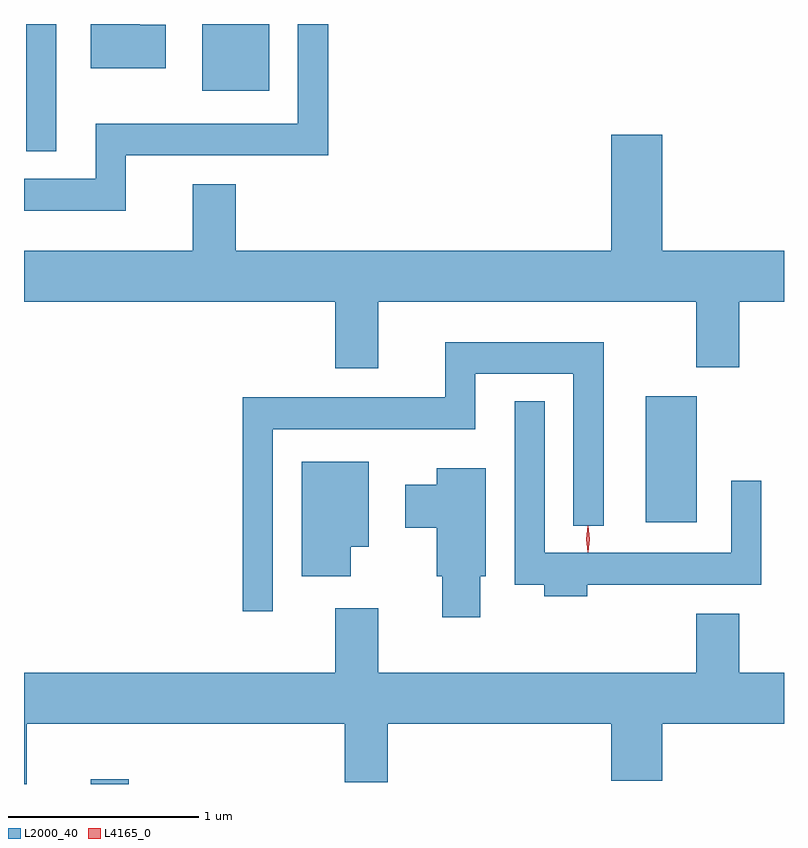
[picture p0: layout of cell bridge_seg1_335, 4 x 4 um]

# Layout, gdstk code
import gdstk
lib = gdstk.Library(unit=1e-6, precision=1e-09)
def R(c, l, rs):  # rectangles x0, y0, x1, y1
    for r in rs: c.add(gdstk.rectangle(r[:2], r[2:], *l))
def P(c, l, *ps):  # polygons
    for p in ps: c.add(gdstk.Polygon(p, *l))
L2000_40 = (2000, 40)
L4165_0 = (4165, 0)

bridge_seg1_335 = lib.new_cell('bridge_seg1_335')
R(bridge_seg1_335, L2000_40, [(911.636,881.498,911.834,881.524), (914.556,882.876,914.824,883.539), (911.296,884.828,911.454,885.498), (912.221,885.146,912.574,885.498)])
P(bridge_seg1_335, L2000_40, [(912.029,885.494),(911.894,885.494),(911.894,885.498),(911.636,885.498),(911.636,885.266),(912.029,885.266)],
  [(911.819,884.806),(912.884,884.806),(912.884,885.498),(912.726,885.498),(912.726,884.974),(911.661,884.974),(911.661,884.684),(911.284,884.684),(911.284,884.516),(911.819,884.516)],
  [(913.149,884.036),(914.821,884.036),(914.821,883.691),(915.049,883.691),(915.049,884.036),(915.284,884.036),(915.284,884.304),(914.644,884.304),(914.644,884.914),(914.376,884.914),(914.376,884.304),(912.399,884.304),(912.399,884.654),(912.171,884.654),(912.171,884.304),(911.284,884.304),(911.284,884.036),(912.921,884.036),(912.921,883.686),(913.149,883.686)],
  [(912.594,883.366),(913.659,883.366),(913.659,883.656),(914.176,883.656),(914.176,882.858),(914.334,882.858),(914.334,883.824),(913.501,883.824),(913.501,883.534),(912.436,883.534),(912.436,882.408),(912.594,882.408)],
  [(914.249,882.546),(915.164,882.546),(915.164,883.093),(915.006,883.093),(915.006,882.714),(914.024,882.714),(914.024,883.513),(913.866,883.513),(913.866,882.546),(914.021,882.546),(914.021,882.486),(914.249,882.486)],
  [(913.004,882.746),(913.099,882.746),(913.099,883.194),(912.746,883.194),(912.746,882.591),(913.004,882.591)],
  [(913.684,882.591),(913.714,882.591),(913.714,883.159),(913.456,883.159),(913.456,883.074),(913.291,883.074),(913.291,882.846),(913.456,882.846),(913.456,882.591),(913.486,882.591),(913.486,882.376),(913.684,882.376)],
  [(911.284,881.498),(911.299,881.498),(911.299,881.816),(912.971,881.816),(912.971,881.506),(913.199,881.506),(913.199,881.816),(914.376,881.816),(914.376,881.516),(914.644,881.516),(914.644,881.816),(915.284,881.816),(915.284,882.084),(915.049,882.084),(915.049,882.394),(914.821,882.394),(914.821,882.084),(913.149,882.084),(913.149,882.424),(912.921,882.424),(912.921,882.084),(911.284,882.084)])
P(bridge_seg1_335, L4165_0, [(914.252,882.717),(914.252,882.717),(914.242,882.787),(914.252,882.856),(914.252,882.856),(914.253,882.856),(914.262,882.787),(914.253,882.717)])

lib.write_gds('bridge_seg1_335.gds')
